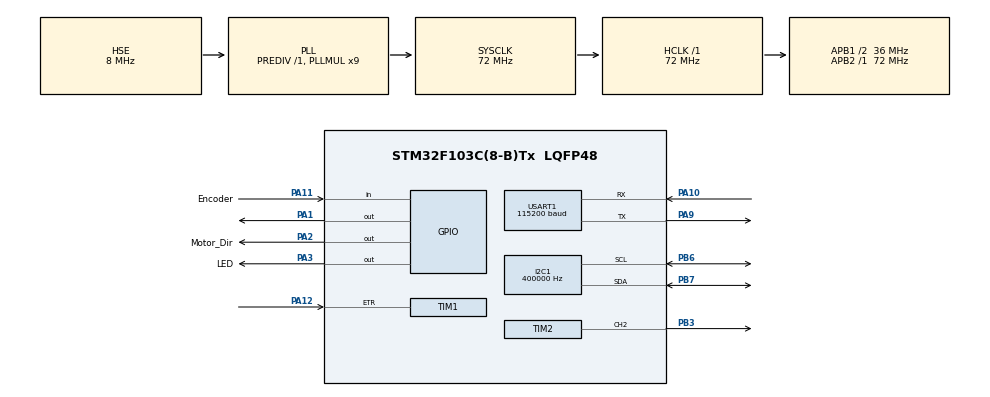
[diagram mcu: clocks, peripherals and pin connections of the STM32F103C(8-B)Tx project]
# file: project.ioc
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Dma.Request0=USART1_RX
Dma.Request1=USART1_TX
Dma.USART1_RX.0.Direction=DMA_PERIPH_TO_MEMORY
Dma.USART1_RX.0.Instance=DMA1_Channel5
Dma.USART1_RX.0.MemDataAlignment=DMA_MDATAALIGN_BYTE
Dma.USART1_RX.0.MemInc=DMA_MINC_ENABLE
Dma.USART1_RX.0.Mode=DMA_NORMAL
Dma.USART1_RX.0.PeriphDataAlignment=DMA_PDATAALIGN_BYTE
Dma.USART1_RX.0.PeriphInc=DMA_PINC_DISABLE
Dma.USART1_RX.0.Priority=DMA_PRIORITY_LOW
Dma.USART1_TX.1.Direction=DMA_MEMORY_TO_PERIPH
Dma.USART1_TX.1.Instance=DMA1_Channel4
Dma.USART1_TX.1.MemDataAlignment=DMA_MDATAALIGN_BYTE
Dma.USART1_TX.1.MemInc=DMA_MINC_ENABLE
Dma.USART1_TX.1.Mode=DMA_NORMAL
Dma.USART1_TX.1.PeriphDataAlignment=DMA_PDATAALIGN_BYTE
Dma.USART1_TX.1.PeriphInc=DMA_PINC_DISABLE
Dma.USART1_TX.1.Priority=DMA_PRIORITY_LOW
I2C1.AddressingMode=I2C_ADDRESSINGMODE_7BIT
I2C1.ClockSpeed=400000
I2C1.DualAddressMode=I2C_DUALADDRESS_DISABLE
I2C1.DutyCycle=I2C_DUTYCYCLE_2
I2C1.GeneralCallMode=I2C_GENERALCALL_DISABLE
I2C1.I2C_Mode=I2C_Fast
I2C1.NoStretchMode=I2C_NOSTRETCH_DISABLE
I2C1.OwnAddress=0
Mcu.Family=STM32F1
Mcu.Name=STM32F103C(8-B)Tx
Mcu.Package=LQFP48
NVIC.DMA1_Channel4_IRQn=true\:0\:0\:false\:false\:true\:false\:true\:true
NVIC.DMA1_Channel5_IRQn=true\:0\:0\:false\:false\:true\:false\:true\:true
NVIC.I2C1_ER_IRQn=true\:0\:0\:false\:false\:true\:true\:true\:true
NVIC.I2C1_EV_IRQn=true\:0\:0\:false\:false\:true\:true\:true\:true
NVIC.PriorityGroup=NVIC_PRIORITYGROUP_4
NVIC.TIM4_IRQn=true\:15\:0\:false\:false\:true\:false\:true\:true
NVIC.TimeBase=TIM4_IRQn
NVIC.TimeBaseIP=TIM4
NVIC.USART1_IRQn=true\:0\:0\:false\:false\:true\:true\:true\:true
PA1.Signal=GPIO_Output
PA10.Mode=Asynchronous
PA10.Signal=USART1_RX
PA11.GPIO_Label=Encoder
PA11.Signal=GPIO_Input
PA12.Signal=S_TIM1_ETR
PA13.Mode=Serial_Wire
PA13.Signal=SYS_JTMS-SWDIO
PA14.Mode=Serial_Wire
PA14.Signal=SYS_JTCK-SWCLK
PA2.GPIO_Label=Motor_Dir
PA2.Signal=GPIO_Output
PA3.GPIO_Label=LED
PA3.Signal=GPIO_Output
PA9.Mode=Asynchronous
PA9.Signal=USART1_TX
PB3.Signal=S_TIM2_CH2
PB6.Mode=I2C
PB6.Signal=I2C1_SCL
PB7.Mode=I2C
PB7.Signal=I2C1_SDA
PD0-OSC_IN.Mode=HSE-External-Oscillator
PD0-OSC_IN.Signal=RCC_OSC_IN
PD1-OSC_OUT.Mode=HSE-External-Oscillator
PD1-OSC_OUT.Signal=RCC_OSC_OUT
ProjectManager.HeapSize=0x200
ProjectManager.StackSize=0x400
ProjectManager.TargetToolchain=MDK-ARM V5.32
RCC.AHBFreq_Value=72000000
RCC.APB1CLKDivider=RCC_HCLK_DIV2
RCC.APB1Freq_Value=36000000
RCC.APB1TimFreq_Value=72000000
RCC.APB2Freq_Value=72000000
RCC.APB2TimFreq_Value=72000000
RCC.FLatency=FLASH_LATENCY_2
RCC.HCLKFreq_Value=72000000
RCC.PLLMUL=RCC_PLL_MUL9
RCC.PLLSourceVirtual=RCC_PLLSOURCE_HSE
RCC.SYSCLKFreq_VALUE=72000000
RCC.SYSCLKSource=RCC_SYSCLKSOURCE_PLLCLK
RCC.USBFreq_Value=72000000
SH.S_TIM1_ETR.0=TIM1_ETR,ClockSourceETR_Mode2
SH.S_TIM2_CH2.0=TIM2_CH2,PWM Generation2 CH2
TIM2.Channel-PWM\ Generation2\ CH2=TIM_CHANNEL_2
TIM2.Period=999
TIM2.Prescaler=71
USART1.BaudRate=115200
USART1.Mode=MODE_TX_RX
USART1.Parity=PARITY_NONE
USART1.StopBits=STOPBITS_1
USART1.VirtualMode=VM_ASYNC
USART1.WordLength=WORDLENGTH_8B
VP_SYS_VS_tim4.Mode=TIM4
board=custom

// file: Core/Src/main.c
/* USER CODE BEGIN Header */
/**
  ******************************************************************************
  * @file           : main.c
  * @brief          : Main program body
  ******************************************************************************
  * @attention
  *
  * Copyright (c) 2022 STMicroelectronics.
  * All rights reserved.
  *
  * This software is licensed under terms that can be found in the LICENSE file
  * in the root directory of this software component.
  * If no LICENSE file comes with this software, it is provided AS-IS.
  *
  ******************************************************************************
  */
/* USER CODE END Header */
#include "main.h"
#include "dma.h"
#include "i2c.h"
#include "tim.h"
#include "usart.h"
#include "gpio.h"

/* USER CODE BEGIN Includes */
//#include "stdio.h"
#include "mpu6050.h"
#include "inv_mpu.h"
#include "inv_mpu_dmp_motion_driver.h"
#include <includes.h>
#include "ANO_TC.h"
#include "driver.h"
/* USER CODE END Includes */

/* USER CODE BEGIN PV */
float pitch, roll, yaw;
uint8_t send_data[] = "Hello";

/* USER CODE END PV */

void SystemClock_Config(void);
/* USER CODE BEGIN PFP */

struct MPU_DATA
{
	int16_t gx;
	int16_t gy;
	int16_t gz;
	int16_t ax;
	int16_t ay;
	int16_t az;
	float roll;
	float pitch;
	float yaw;
	/* data */
};

static CPU_STK   Task_Start_STK[APP_TASK_START_STK_SIZE] ;
static CPU_STK   Task_Base_STK[APP_TASK_START_STK_SIZE] ;

static OS_TCB Task_Start_TCB ;
static OS_TCB Task_Base_TCB ;
static OS_TMR Tmr1;
static OS_TMR Tmr2;

void Task_Start(void *p_arg) ;
void Task_Base(void *p_arg) ;
void Task_Tim1(void *p_arg) ;
void Task_Tim2(void *p_arg) ;

struct MPU_DATA mpu_data;
int16_t encoder;
int16_t motor_pwm,balance_pwm;
#define TARGET 90

void OS_Start(void )
{
	OS_ERR err ;

	OSInit (&err) ;

	OSTaskCreate ( (OS_TCB     *) &Task_Start_TCB,
							   (CPU_CHAR   *) "Task_Start",
	               (OS_TASK_PTR ) Task_Start ,
								 (void       *) 0 ,
								 (OS_PRIO     ) 4 ,
                 (CPU_STK    *) Task_Start_STK ,
                 (CPU_STK_SIZE)	APP_TASK_START_STK_SIZE /10 ,
                 (CPU_STK_SIZE) APP_TASK_START_STK_SIZE ,
                 (OS_MSG_QTY  ) 0u ,
                 (OS_TICK     ) 0u ,
                 (void       *) 0 ,
                 (OS_OPT      ) (OS_OPT_TASK_STK_CHK | OS_OPT_TASK_STK_CLR),
                 (OS_ERR     *) &err );

  OSStart (&err ) ;
}

void Task_Start(void *p_arg)
{
	CPU_INT32U cpu_clk_freq ;
	CPU_INT32U cnts ;
	OS_ERR err ;

	(void) p_arg ;

	BSP_Init ();
	//led_on ;

	CPU_Init () ;

	cpu_clk_freq = BSP_CPU_ClkFreq () ;

	cnts = cpu_clk_freq / (CPU_INT32U ) OSCfg_TickRate_Hz ;

	OS_CPU_SysTickInit (cnts );

	Mem_Init () ;

	OSTaskCreate ( (OS_TCB     *) &Task_Base_TCB,
							   (CPU_CHAR   *) "Task_Base",
	               (OS_TASK_PTR ) Task_Base ,
								 (void       *) 0 ,
								 (OS_PRIO     ) 12 ,
                 (CPU_STK    *) Task_Base_STK ,
                 (CPU_STK_SIZE)	APP_TASK_START_STK_SIZE /10 ,
                 (CPU_STK_SIZE) APP_TASK_START_STK_SIZE ,
                 (OS_MSG_QTY  ) 0u ,
                 (OS_TICK     ) 0u ,
                 (void       *) 0 ,
                 (OS_OPT      ) (OS_OPT_TASK_STK_CHK | OS_OPT_TASK_STK_CLR),
                 (OS_ERR     *) &err );

  OSTmrCreate(    &Tmr1,
                  (CPU_CHAR *) "Task_Tim1",
                  0,
                  5,
                  OS_OPT_TMR_PERIODIC,
                  (OS_TMR_CALLBACK_PTR)Task_Tim1,
                  0,
                  &err);

  OSTmrCreate(    &Tmr2,
                  (CPU_CHAR *) "Task_Tim2",
                  0,
                  2,
                  OS_OPT_TMR_PERIODIC,
                  (OS_TMR_CALLBACK_PTR)Task_Tim2,
                  0,
                  &err);

  OSTmrStart(&Tmr1,NULL);
  OSTmrStart(&Tmr2,NULL);

  OSTaskDel ( & Task_Start_TCB, & err );

}

void Task_Base(void *p_arg)
{

	  OS_ERR      err;

    while (1) {                                          /* Task body, always written as an infinite loop.       */
			led_toggle ;

			//printf("this is base\n");

			//motor_control(120);
      //ANO_TC_SendEuler(mpu_data.roll,mpu_data.pitch,mpu_data.yaw);
      //ANO_TC_Send(300,400,500,-300,-400,-500);
			OSTimeDly ( 1, OS_OPT_TIME_DLY, & err );
    }

}
void Task_Tim1(void *p_arg)
{
    encoder = get_encoder();
    mpu_dmp_get_data(&mpu_data.pitch, &mpu_data.roll,&mpu_data.yaw);
    //led_off;
	  MPU_Get_Gyroscope(&mpu_data.gx,&mpu_data.gy,&mpu_data.gz);
    //MPU_Get_Accelerometer(&mpu_data.ax,&mpu_data.ay,&mpu_data.az);
		//printf("this is tim1\n");
		ANO_TC_Send(encoder,motor_pwm,350,mpu_data.ax,mpu_data.ay,mpu_data.az);
	  //ANO_TC_Send(mpu_data.gx,mpu_data.gy,mpu_data.gz,mpu_data.ax,mpu_data.ay,mpu_data.az);
		//printf("ax : %d ay : %d az : %d\n",mpu_data.ax,mpu_data.ay,mpu_data.az);
    //ANO_TC_SendEuler(mpu_data.roll,mpu_data.pitch,mpu_data.yaw);
}
void Task_Tim2(void *p_arg)
{
		static short cnt = 0;
    static float vel_out = 0.0;
    static int16_t ang_out = 0;
	  motor_pwm = motor_pi(encoder,TARGET);
    if(cnt % 32 == 0){
      vel_out = velocity_control(encoder,0);
    }else if(cnt % 8 == 0){
      ang_out = angle_control(mpu_data.pitch,vel_out);
    }
    balance_pwm = palstance_control(mpu_data.gx,ang_out);
}
/* USER CODE END PFP */

int main(void)
{

  /* MCU Configuration--------------------------------------------------------*/

  /* Reset of all peripherals, Initializes the Flash interface and the Systick. */
  HAL_Init();

  /* Configure the system clock */
  SystemClock_Config();

  /* Initialize all configured peripherals */
  MX_GPIO_Init();
  MX_DMA_Init();
  MX_I2C1_Init();
  MX_USART1_UART_Init();
  MX_TIM2_Init();
  MX_TIM1_Init();

  /* Infinite loop */
  /* USER CODE BEGIN WHILE */
	HAL_TIM_PWM_Start(&htim2,TIM_CHANNEL_1);
  HAL_TIM_Base_Start(&htim1);
  mpu_dmp_init();

  motor_control(0);

  OS_Start();

  while (1)
  {

    /* USER CODE END WHILE */

  }
}

void SystemClock_Config(void)
{
  RCC_OscInitTypeDef RCC_OscInitStruct = {0};
  RCC_ClkInitTypeDef RCC_ClkInitStruct = {0};

  /** Initializes the RCC Oscillators according to the specified parameters
  * in the RCC_OscInitTypeDef structure.
  */
  RCC_OscInitStruct.OscillatorType = RCC_OSCILLATORTYPE_HSE;
  RCC_OscInitStruct.HSEState = RCC_HSE_ON;
  RCC_OscInitStruct.HSEPredivValue = RCC_HSE_PREDIV_DIV1;
  RCC_OscInitStruct.HSIState = RCC_HSI_ON;
  RCC_OscInitStruct.PLL.PLLState = RCC_PLL_ON;
  RCC_OscInitStruct.PLL.PLLSource = RCC_PLLSOURCE_HSE;
  RCC_OscInitStruct.PLL.PLLMUL = RCC_PLL_MUL9;
  if (HAL_RCC_OscConfig(&RCC_OscInitStruct) != HAL_OK)
  {
    Error_Handler();
  }

  /** Initializes the CPU, AHB and APB buses clocks
  */
  RCC_ClkInitStruct.ClockType = RCC_CLOCKTYPE_HCLK|RCC_CLOCKTYPE_SYSCLK
                              |RCC_CLOCKTYPE_PCLK1|RCC_CLOCKTYPE_PCLK2;
  RCC_ClkInitStruct.SYSCLKSource = RCC_SYSCLKSOURCE_PLLCLK;
  RCC_ClkInitStruct.AHBCLKDivider = RCC_SYSCLK_DIV1;
  RCC_ClkInitStruct.APB1CLKDivider = RCC_HCLK_DIV2;
  RCC_ClkInitStruct.APB2CLKDivider = RCC_HCLK_DIV1;

  if (HAL_RCC_ClockConfig(&RCC_ClkInitStruct, FLASH_LATENCY_2) != HAL_OK)
  {
    Error_Handler();
  }
}

void HAL_TIM_PeriodElapsedCallback(TIM_HandleTypeDef *htim)
{
  if (htim->Instance == TIM4) {
    HAL_IncTick();
  }
}

void Error_Handler(void)
{
  __disable_irq();
  while (1)
  {
  }
}
